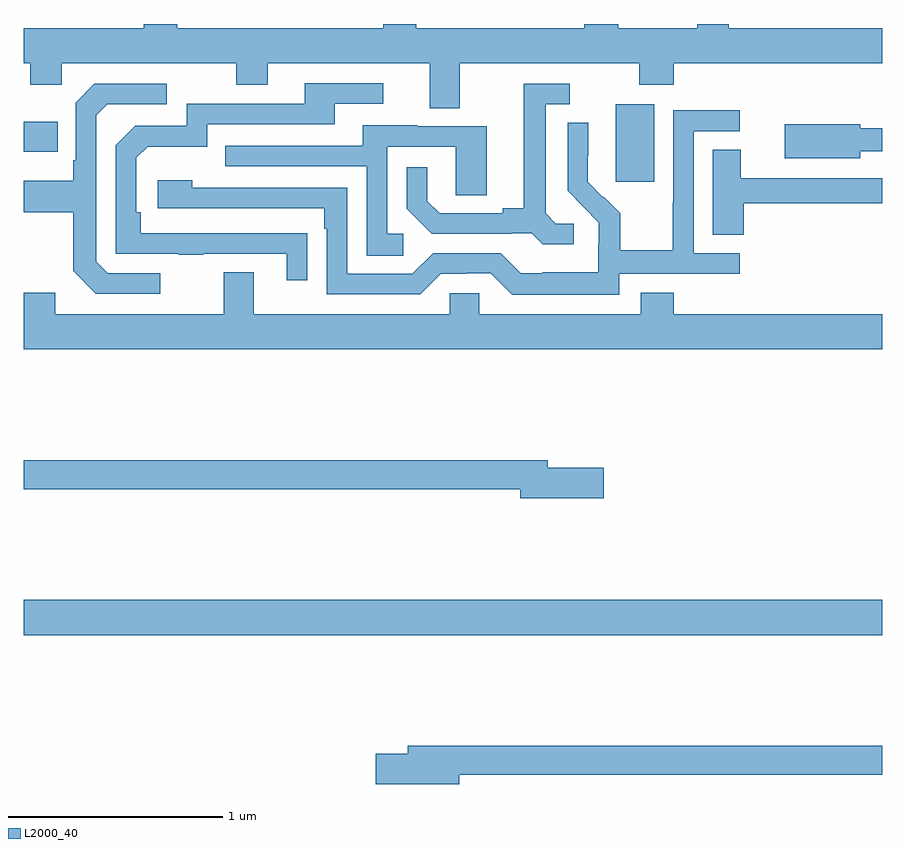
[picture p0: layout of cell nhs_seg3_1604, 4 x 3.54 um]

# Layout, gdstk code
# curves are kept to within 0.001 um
import gdstk
lib = gdstk.Library(unit=1e-6, precision=1e-09)
def R(c, l, rs):  # rectangles x0, y0, x1, y1
    for r in rs: c.add(gdstk.rectangle(r[:2], r[2:], *l))
def P(c, l, *ps):  # polygons
    for p in ps: c.add(gdstk.Polygon(p, *l))
L2000_40 = (2000, 40)

nhs_seg3_1604 = lib.new_cell('nhs_seg3_1604')
R(nhs_seg3_1604, L2000_40, [(193,731.552,197,731.716), (195.758,733.665,195.937,734.026), (193,733.805,193.157,733.945)])
P(nhs_seg3_1604, L2000_40, [(195.031,734.216),(195.868,734.216),(195.868,734.117),(196.028,734.117),(196.028,734.216),(197,734.216),(197,734.38),(196.284,734.38),(196.284,734.4),(196.138,734.4),(196.138,734.38),(195.771,734.38),(195.771,734.4),(195.611,734.4),(195.611,734.38),(194.828,734.38),(194.828,734.4),(194.675,734.4),(194.675,734.38),(193.715,734.38),(193.715,734.4),(193.559,734.4),(193.559,734.38),(193,734.38),(193,734.216),(193.03,734.216),(193.03,734.117),(193.176,734.117),(193.176,734.216),(193.99,734.216),(193.99,734.117),(194.137,734.117),(194.137,734.216),(194.891,734.216),(194.891,734.008),(195.031,734.008)],
  [(194.321,733.424),(193.544,733.425),(193.544,733.522),(193.524,733.522),(193.524,733.776),(193.577,733.829),(193.854,733.829),(193.854,733.932),(194.449,733.932),(194.449,734.028),(194.674,734.028),(194.674,734.124),(194.309,734.124),(194.309,734.028),(193.758,734.028),(193.758,733.926),(193.518,733.926),(193.428,733.836),(193.428,733.329),(193.723,733.329),(193.723,733.324),(193.835,733.324),(193.835,733.329),(194.225,733.329),(194.225,733.206),(194.321,733.206)],
  [(195.562,733.47),(195.48,733.47),(195.433,733.517),(195.433,734.025),(195.544,734.025),(195.544,734.121),(195.329,734.121),(195.329,733.541),(195.233,733.541),(195.233,733.518),(194.938,733.518),(194.881,733.575),(194.881,733.732),(194.784,733.732),(194.784,733.538),(194.9,733.422),(195.272,733.422),(195.272,733.425),(195.366,733.425),(195.418,733.373),(195.562,733.373)],
  [(193.636,733.239),(193.392,733.239),(193.338,733.293),(193.338,733.974),(193.389,734.025),(193.666,734.025),(193.666,734.121),(193.329,734.121),(193.242,734.034),(193.242,733.765),(193.23,733.765),(193.23,733.669),(193,733.669),(193,733.522),(193.23,733.522),(193.23,733.249),(193.335,733.143),(193.636,733.143)],
  [(195.774,733.236),(196.336,733.236),(196.336,733.332),(196.122,733.332),(196.122,733.899),(196.336,733.899),(196.336,733.998),(196.026,733.998),(196.026,733.568),(196.024,733.568),(196.024,733.345),(195.779,733.345),(195.779,733.519),(195.702,733.596),(195.699,733.593),(195.629,733.664),(195.63,733.94),(195.534,733.94),(195.534,733.622),(195.68,733.474),(195.68,733.377),(195.678,733.377),(195.678,733.243),(195.415,733.243),(195.415,733.239),(195.315,733.239),(195.222,733.332),(194.907,733.332),(194.811,733.236),(194.508,733.236),(194.508,733.638),(193.784,733.638),(193.784,733.672),(193.623,733.672),(193.623,733.542),(194.399,733.542),(194.399,733.445),(194.412,733.445),(194.412,733.14),(194.847,733.14),(194.943,733.236),(195.062,733.236),(195.062,733.239),(195.177,733.239),(195.277,733.139),(195.774,733.139)],
  [(196.897,733.806),(197,733.806),(197,733.915),(196.897,733.915),(196.897,733.933),(196.545,733.933),(196.545,733.775),(196.897,733.775)],
  [(194.767,733.422),(194.694,733.422),(194.694,733.827),(195.012,733.827),(195.012,733.603),(195.157,733.603),(195.157,733.923),(194.833,733.923),(194.833,733.927),(194.579,733.927),(194.579,733.833),(193.939,733.833),(193.939,733.737),(194.598,733.737),(194.598,733.321),(194.767,733.321)],
  [(196.355,733.564),(197,733.564),(197,733.68),(196.342,733.68),(196.342,733.814),(196.211,733.814),(196.211,733.417),(196.355,733.417)],
  [(197,733.048),(196.028,733.048),(196.028,733.147),(195.875,733.147),(195.875,733.048),(195.123,733.048),(195.123,733.146),(194.985,733.146),(194.985,733.048),(194.071,733.048),(194.071,733.243),(193.931,733.243),(193.931,733.048),(193.147,733.048),(193.147,733.147),(193,733.147),(193,732.884),(197,732.884)],
  [(195.703,732.332),(195.442,732.332),(195.442,732.368),(193,732.368),(193,732.232),(195.314,732.232),(195.314,732.19),(195.703,732.19)],
  [(195.028,730.9),(197,730.9),(197,731.036),(194.789,731.036),(194.789,731),(194.64,731),(194.64,730.858),(195.028,730.858)])

lib.write_gds('nhs_seg3_1604.gds')
